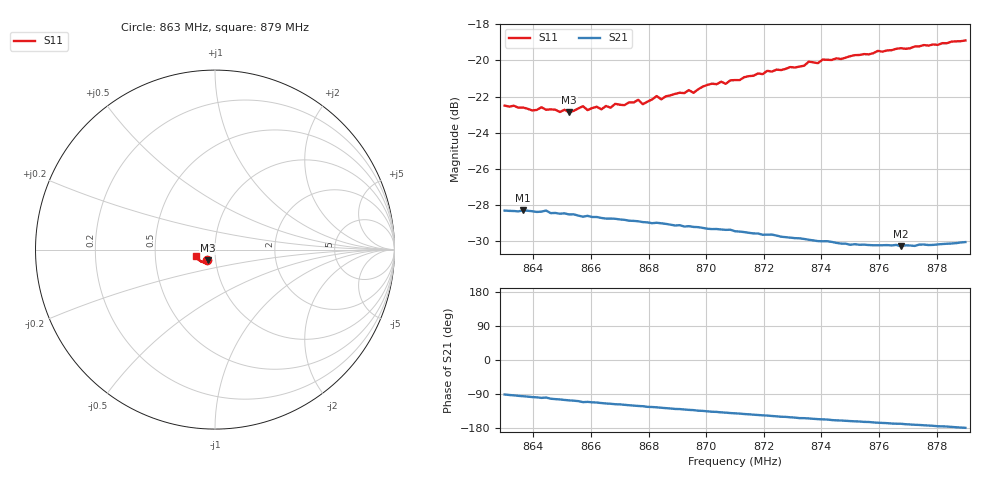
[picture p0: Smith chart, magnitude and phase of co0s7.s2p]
# HZ S RI R 50
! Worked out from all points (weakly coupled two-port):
!   101 points, 863 MHz to 879 MHz, reference 50 ohm
!   highest |S21| = -28.29 dB at 863.64 MHz (marker M1); lowest = -30.3 dB at 876.76 MHz (marker M2)
!   lowest |S11| = -22.9 dB at 865.24 MHz (marker M3), VSWR 1.15, Z = 45.9 - j5.52 ohm
!   |S11| at or under -10 dB: start of sweep to end of sweep
!   S12 and S22 are empty: the file has one direction only
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8.63e8  -0.0455 -0.0596  -0.000658 -0.0384  0 0  0 0
8.6364e8  -0.0433 -0.0601  -0.00373 -0.0383  0 0  0 0
8.6396e8  -0.0413 -0.0598  -0.00521 -0.0379  0 0  0 0
8.6428e8  -0.0411 -0.0618  -0.00663 -0.0376  0 0  0 0
8.6524e8  -0.0396 -0.0599  -0.0107 -0.036  0 0  0 0
8.6572e8  -0.0411 -0.0624  -0.0134 -0.0345  0 0  0 0
8.6588e8  -0.0403 -0.0607  -0.013 -0.0348  0 0  0 0
8.662e8  -0.0406 -0.0624  -0.014 -0.0342  0 0  0 0
8.6636e8  -0.0407 -0.0609  -0.0147 -0.0336  0 0  0 0
8.6764e8  -0.0409 -0.0661  -0.0187 -0.0307  0 0  0 0
8.678e8  -0.0418 -0.063  -0.0189 -0.0303  0 0  0 0
8.6828e8  -0.0437 -0.0666  -0.0203 -0.0292  0 0  0 0
8.6844e8  -0.0424 -0.0655  -0.0208 -0.0287  0 0  0 0
8.694e8  -0.0466 -0.0683  -0.0231 -0.026  0 0  0 0
8.6956e8  -0.0464 -0.0667  -0.0233 -0.0256  0 0  0 0
8.702e8  -0.0499 -0.0703  -0.0248 -0.0235  0 0  0 0
8.7068e8  -0.0504 -0.0699  -0.0256 -0.0224  0 0  0 0
8.71e8  -0.0529 -0.0706  -0.0261 -0.0214  0 0  0 0
8.7372e8  -0.0707 -0.0689  -0.0289 -0.0133  0 0  0 0
8.7644e8  -0.0901 -0.0572  -0.0301 -0.00658  0 0  0 0
8.7676e8  -0.093 -0.055  -0.03 -0.00622  0 0  0 0
8.79e8  -0.1072 -0.0371  -0.0315 -0.000539  0 0  0 0
